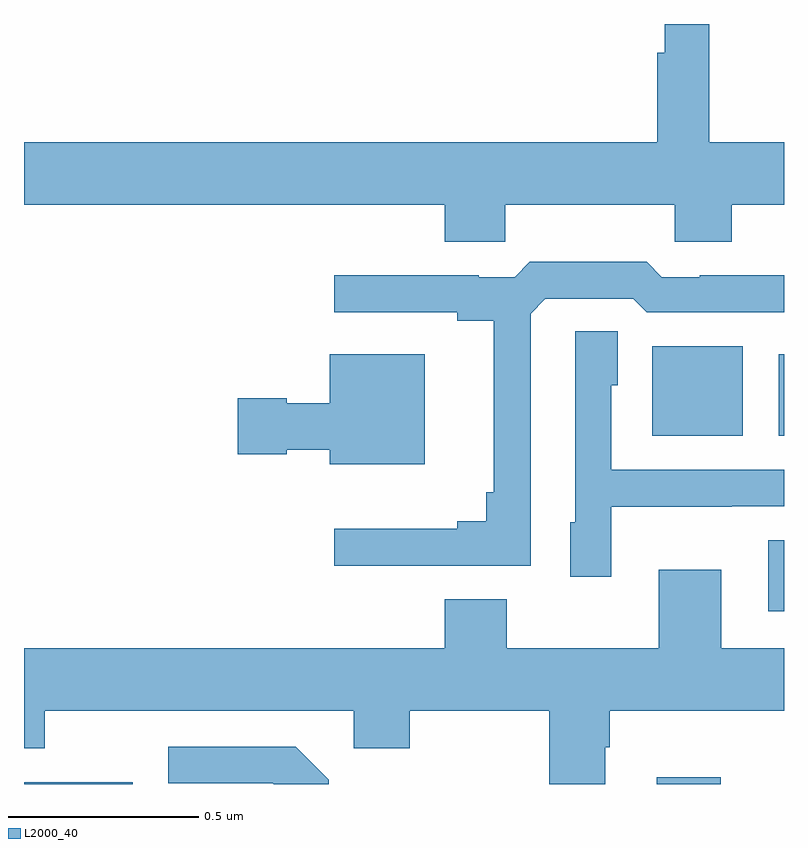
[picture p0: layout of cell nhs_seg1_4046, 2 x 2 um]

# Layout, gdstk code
import gdstk
lib = gdstk.Library(unit=1e-6, precision=1e-09)
def R(c, l, rs):  # rectangles x0, y0, x1, y1
    for r in rs: c.add(gdstk.rectangle(r[:2], r[2:], *l))
def P(c, l, *ps):  # polygons
    for p in ps: c.add(gdstk.Polygon(p, *l))
L2000_40 = (2000, 40)

nhs_seg1_4046 = lib.new_cell('nhs_seg1_4046')
R(nhs_seg1_4046, L2000_40, [(161,558.199,161.286,558.204), (162.665,558.199,162.833,558.217), (162.959,558.654,163,558.84), (162.653,559.115,162.892,559.351), (162.986,559.115,163,559.33)])
P(nhs_seg1_4046, L2000_40, [(162.267,559.724),(162.712,559.724),(162.712,559.626),(162.862,559.626),(162.862,559.724),(163,559.724),(163,559.888),(162.803,559.888),(162.803,560.199),(162.686,560.199),(162.686,560.124),(162.667,560.124),(162.667,559.888),(161,559.888),(161,559.724),(162.107,559.724),(162.107,559.626),(162.267,559.626)],
  [(162.333,559.437),(162.372,559.476),(162.603,559.476),(162.639,559.44),(163,559.44),(163,559.538),(162.778,559.538),(162.778,559.533),(162.678,559.533),(162.639,559.573),(162.331,559.573),(162.291,559.533),(162.197,559.533),(162.197,559.538),(161.817,559.538),(161.817,559.44),(162.14,559.44),(162.14,559.418),(162.236,559.418),(162.236,558.967),(162.217,558.967),(162.217,558.89),(162.14,558.89),(162.14,558.871),(161.817,558.871),(161.817,558.774),(162.333,558.774)],
  [(162.546,558.929),(162.863,558.929),(162.863,558.93),(163,558.93),(163,559.026),(162.546,559.026),(162.546,559.248),(162.562,559.248),(162.562,559.391),(162.45,559.391),(162.45,558.888),(162.437,558.888),(162.437,558.744),(162.546,558.744)],
  [(162.055,559.33),(161.804,559.33),(161.804,559.201),(161.691,559.201),(161.691,559.214),(161.562,559.214),(161.562,559.067),(161.691,559.067),(161.691,559.079),(161.804,559.079),(161.804,559.04),(162.055,559.04)],
  [(162.529,558.296),(162.542,558.296),(162.542,558.392),(163,558.392),(163,558.556),(162.835,558.556),(162.835,558.763),(162.671,558.763),(162.671,558.556),(162.271,558.556),(162.271,558.685),(162.107,558.685),(162.107,558.556),(161,558.556),(161,558.293),(161.055,558.293),(161.055,558.392),(161.868,558.392),(161.868,558.293),(162.015,558.293),(162.015,558.392),(162.382,558.392),(162.382,558.199),(162.529,558.199)],
  [(161.802,558.21),(161.715,558.297),(161.379,558.297),(161.379,558.201),(161.655,558.201),(161.657,558.199),(161.802,558.199)])

lib.write_gds('nhs_seg1_4046.gds')
